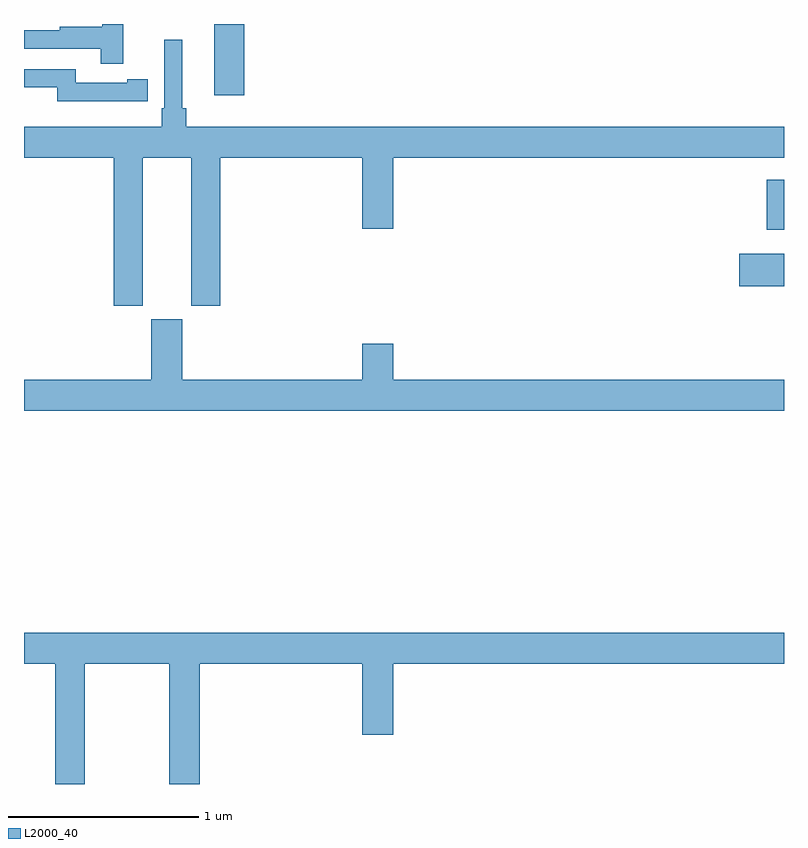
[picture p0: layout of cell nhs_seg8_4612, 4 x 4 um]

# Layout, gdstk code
import gdstk
lib = gdstk.Library(unit=1e-6, precision=1e-09)
def R(c, l, rs):  # rectangles x0, y0, x1, y1
    for r in rs: c.add(gdstk.rectangle(r[:2], r[2:], *l))
def P(c, l, *ps):  # polygons
    for p in ps: c.add(gdstk.Polygon(p, *l))
L2000_40 = (2000, 40)

nhs_seg8_4612 = lib.new_cell('nhs_seg8_4612')
R(nhs_seg8_4612, L2000_40, [(394.764,1086.521,395,1086.691), (394.91,1086.818,395,1087.081), (392,1087.524,392.159,1087.9)])
P(nhs_seg8_4612, L2000_40, [(391.523,1087.9),(391.413,1087.9),(391.413,1087.886),(391.189,1087.886),(391.189,1087.866),(391,1087.866),(391,1087.77),(391.405,1087.77),(391.405,1087.692),(391.523,1087.692)],
  [(391.624,1087.196),(391.88,1087.196),(391.88,1086.417),(392.033,1086.417),(392.033,1087.196),(392.78,1087.196),(392.78,1086.822),(392.944,1086.822),(392.944,1087.196),(395,1087.196),(395,1087.36),(391.853,1087.36),(391.853,1087.456),(391.834,1087.456),(391.834,1087.816),(391.737,1087.816),(391.737,1087.456),(391.724,1087.456),(391.724,1087.36),(391,1087.36),(391,1087.196),(391.472,1087.196),(391.472,1086.417),(391.624,1086.417)],
  [(391.544,1087.494),(391.652,1087.494),(391.652,1087.61),(391.544,1087.61),(391.544,1087.59),(391.272,1087.59),(391.272,1087.662),(391,1087.662),(391,1087.566),(391.176,1087.566),(391.176,1087.493),(391.544,1087.493)],
  [(395,1086.028),(392.944,1086.028),(392.944,1086.217),(392.78,1086.217),(392.78,1086.028),(391.834,1086.028),(391.834,1086.345),(391.67,1086.345),(391.67,1086.028),(391,1086.028),(391,1085.864),(395,1085.864)],
  [(391,1084.532),(391.165,1084.532),(391.165,1083.9),(391.32,1083.9),(391.32,1084.532),(391.765,1084.532),(391.765,1083.9),(391.925,1083.9),(391.925,1084.532),(392.78,1084.532),(392.78,1084.158),(392.944,1084.158),(392.944,1084.532),(395,1084.532),(395,1084.696),(391,1084.696)])

lib.write_gds('nhs_seg8_4612.gds')
